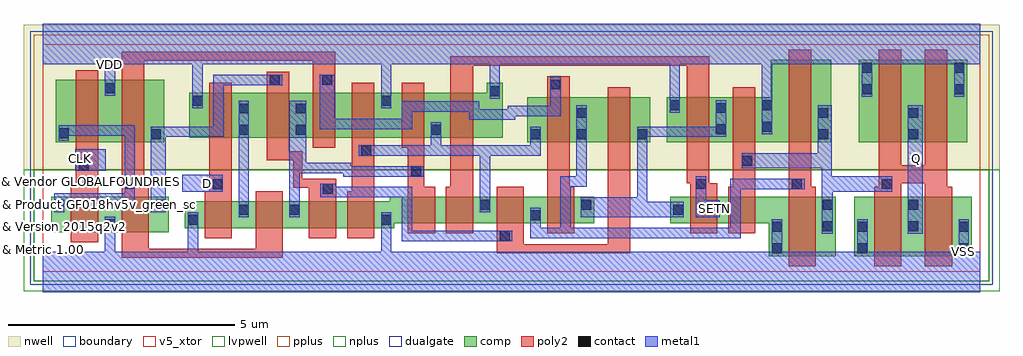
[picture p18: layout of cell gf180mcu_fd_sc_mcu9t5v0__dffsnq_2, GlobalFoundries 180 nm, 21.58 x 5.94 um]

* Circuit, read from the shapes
.subckt gf180mcu_fd_sc_mcu9t5v0__dffsnq_2 CLK D Q SETN VDD VSS
XM1 VSS CLK n1 VSUBS nfet_05v0 w=0.79u l=0.6u
XM2 n2 n1 VSS VSUBS nfet_05v0 w=0.79u l=0.6u
XM3 n3 D VSS VSUBS nfet_05v0 w=0.59u l=0.6u
XM4 n4 n1 n3 VSUBS nfet_05v0 w=0.59u l=0.6u
XM5 n5 n2 n4 VSUBS nfet_05v0 w=0.59u l=0.6u
XM6 VSS n6 n5 VSUBS nfet_05v0 w=0.59u l=0.6u
XM7 n7 n4 VSS VSUBS nfet_05v0 w=0.59u l=0.6u
XM8 n6 SETN n7 VSUBS nfet_05v0 w=0.59u l=0.6u
XM9 n8 n2 n6 VSUBS nfet_05v0 w=0.59u l=0.6u
XM10 n9 n1 n8 VSUBS nfet_05v0 w=0.59u l=0.6u
XM11 n10 SETN n9 VSUBS nfet_05v0 w=0.59u l=0.6u
XM12 VSS n11 n10 VSUBS nfet_05v0 w=0.59u l=0.6u
XM13 n11 n8 VSS VSUBS nfet_05v0 w=1.32u l=0.6u
XM14 Q n11 VSS VSUBS nfet_05v0 w=1.32u l=0.6u m=2
XM15 VDD CLK n1 n12 pfet_05v0 w=1.38u l=0.5u
XM16 n2 n1 VDD n12 pfet_05v0 w=1.38u l=0.5u
XM17 n3 D VDD n12 pfet_05v0 w=1u l=0.5u
XM18 n4 n2 n3 n12 pfet_05v0 w=1u l=0.5u
XM19 n13 n1 n4 n12 pfet_05v0 w=1u l=0.5u
XM20 VDD n6 n13 n12 pfet_05v0 w=1u l=0.5u
XM21 n6 n4 VDD n12 pfet_05v0 w=1u l=0.5u
XM22 VDD SETN n6 n12 pfet_05v0 w=1u l=0.5u
XM23 n8 n1 n6 n12 pfet_05v0 w=1u l=0.5u
XM24 n9 n2 n8 n12 pfet_05v0 w=1u l=0.5u
XM25 n9 SETN VDD n12 pfet_05v0 w=1u l=0.5u
XM26 VDD n11 n9 n12 pfet_05v0 w=1u l=0.5u
XM27 n11 n8 VDD n12 pfet_05v0 w=1.83u l=0.5u
XM28 Q n11 VDD n12 pfet_05v0 w=1.83u l=0.5u m=2
.ends

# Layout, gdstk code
import gdstk
lib = gdstk.Library(unit=1e-6, precision=1e-09)
def R(c, l, rs):  # rectangles x0, y0, x1, y1
    for r in rs: c.add(gdstk.rectangle(r[:2], r[2:], *l))
def P(c, l, *ps):  # polygons
    for p in ps: c.add(gdstk.Polygon(p, *l))
boundary = (0, 0)
nwell = (21, 0)
comp = (22, 0)
poly2 = (30, 0)
pplus = (31, 0)
nplus = (32, 0)
contact = (33, 0)
metal1 = (34, 0)
dualgate = (55, 0)
v5_xtor = (112, 1)
lvpwell = (204, 0)

gf180mcu_fd_sc_mcu9t5v0_ = lib.new_cell('gf180mcu_fd_sc_mcu9t5v0__dffsnq_2')
R(gf180mcu_fd_sc_mcu9t5v0_, boundary, [(0,0,20.72,5.04)])
R(gf180mcu_fd_sc_mcu9t5v0_, nwell, [(-0.43,2.265,21.15,5.47)])
R(gf180mcu_fd_sc_mcu9t5v0_, comp, [(17.94,0.345,20.54,1.665), (0.18,0.875,2.78,1.665), (0.28,2.865,2.68,4.245), (10.71,2.865,13.43,3.865), (18.04,2.865,20.44,4.695)])
P(gf180mcu_fd_sc_mcu9t5v0_, comp, [(3.24,2.965),(3.24,3.965),(9.81,3.965),(9.81,4.18),(10.17,4.18),(10.17,2.965)],
  [(3.14,0.97),(3.14,1.56),(7.67,1.56),(7.67,1.665),(12.19,1.665),(12.19,1.075),(7.77,1.075),(7.77,0.97)],
  [(13.79,2.865),(13.79,3.865),(16.09,3.865),(16.09,4.695),(17.43,4.695),(17.43,2.865)],
  [(16.05,0.345),(16.05,1.075),(13.87,1.075),(13.87,1.665),(17.53,1.665),(17.53,0.345)])
P(gf180mcu_fd_sc_mcu9t5v0_, poly2, [(0.62,0.655),(0.62,1.885),(0.72,1.885),(0.72,4.465),(1.22,4.465),(1.22,0.655)],
  [(3.58,0.75),(3.58,1.78),(3.68,1.78),(3.68,4.185),(4.18,4.185),(4.18,0.75)],
  [(1.74,0.31),(1.74,4.865),(6.465,4.865),(6.465,2.745),(5.965,2.745),(5.965,4.665),(2.24,4.665),(2.24,1.885),(2.34,1.885),(2.34,0.51),(4.7,0.51),(4.7,1.78),(5.3,1.78),(5.3,0.31)],
  [(5.88,0.75),(5.88,1.86),(5.535,1.86),(5.535,2.465),(4.945,2.465),(4.945,4.425),(5.445,4.425),(5.445,2.665),(5.735,2.665),(5.735,2.06),(6.48,2.06),(6.48,0.75)],
  [(6.73,0.75),(6.73,1.78),(6.83,1.78),(6.83,4.185),(7.33,4.185),(7.33,0.75)],
  [(8.07,0.855),(8.07,2.745),(7.93,2.745),(7.93,4.185),(8.43,4.185),(8.43,1.885),(8.67,1.885),(8.67,0.855)],
  [(11.15,0.855),(11.15,4.325),(11.65,4.325),(11.65,1.885),(11.75,1.885),(11.75,0.855)],
  [(10.03,0.415),(10.03,1.885),(10.63,1.885),(10.63,0.615),(12.49,0.615),(12.49,4.085),(12.99,4.085),(12.99,2.645),(12.985,2.645),(12.985,0.415)],
  [(8.91,0.855),(8.91,1.885),(9.01,1.885),(9.01,4.765),(14.73,4.765),(14.73,1.965),(14.91,1.965),(14.91,0.855),(14.31,0.855),(14.31,1.965),(14.23,1.965),(14.23,4.565),(9.51,4.565),(9.51,0.855)],
  [(15.15,0.855),(15.15,1.885),(15.25,1.885),(15.25,4.085),(15.75,4.085),(15.75,0.855)],
  [(16.49,0.125),(16.49,4.915),(16.99,4.915),(16.99,1.885),(17.09,1.885),(17.09,0.125)],
  [(18.38,0.125),(18.38,1.885),(18.48,1.885),(18.48,4.915),(18.98,4.915),(18.98,2.355),(19.5,2.355),(19.5,4.915),(20,4.915),(20,1.885),(20.1,1.885),(20.1,0.125),(19.5,0.125),(19.5,1.965),(18.98,1.965),(18.98,0.125)])
R(gf180mcu_fd_sc_mcu9t5v0_, pplus, [(-0.2,2.265,20.92,5.24)])
R(gf180mcu_fd_sc_mcu9t5v0_, nplus, [(-0.2,-0.2,20.92,2.265)])
R(gf180mcu_fd_sc_mcu9t5v0_, contact, [(16.12,0.415,16.34,0.635), (18.01,0.415,18.23,0.635), (20.25,0.415,20.47,0.635), (10.1,0.685,10.32,0.905), (16.12,0.885,16.34,1.105), (18.01,0.885,18.23,1.105), (20.25,0.885,20.47,1.105), (17.24,0.905,17.46,1.125), (19.13,0.905,19.35,1.125), (1.37,0.945,1.59,1.165), (3.21,1.04,3.43,1.26), (7.48,1.04,7.7,1.26), (10.78,1.145,11,1.365), (4.33,1.27,4.55,1.49), (5.45,1.27,5.67,1.49), (13.94,1.27,14.16,1.49), (0.25,1.375,0.47,1.595), (2.49,1.375,2.71,1.595), (9.66,1.375,9.88,1.595), (11.9,1.375,12.12,1.595), (17.24,1.375,17.46,1.595), (19.13,1.375,19.35,1.595), (6.19,1.73,6.41,1.95), (3.75,1.83,3.97,2.05), (1.81,1.835,2.03,2.055), (14.44,1.835,14.66,2.055), (16.56,1.835,16.78,2.055), (18.55,1.835,18.77,2.055), (8.14,2.115,8.36,2.335), (0.79,2.245,1.01,2.465), (15.46,2.35,15.68,2.57), (7.04,2.575,7.26,2.795), (2.39,2.935,2.61,3.155), (10.78,2.935,11,3.155), (11.8,2.935,12.02,3.155), (13.14,2.935,13.36,3.155), (17.14,2.935,17.36,3.155), (19.13,2.935,19.35,3.155), (0.35,2.96,0.57,3.18), (4.33,3.035,4.55,3.255), (5.595,3.035,5.815,3.255), (8.58,3.035,8.8,3.255), (14.88,3.045,15.1,3.265), (15.9,3.105,16.12,3.325), (11.8,3.405,12.02,3.625), (17.14,3.405,17.36,3.625), (19.13,3.405,19.35,3.625), (4.33,3.505,4.55,3.725), (5.595,3.505,5.815,3.725), (14.88,3.515,15.1,3.735), (13.86,3.575,14.08,3.795), (15.9,3.575,16.12,3.795), (3.31,3.675,3.53,3.895), (7.48,3.675,7.7,3.895), (9.88,3.89,10.1,4.11), (18.11,3.935,18.33,4.155), (20.15,3.935,20.37,4.155), (1.37,3.955,1.59,4.175), (11.22,4.035,11.44,4.255), (5.015,4.135,5.235,4.355), (6.175,4.135,6.395,4.355), (18.11,4.405,18.33,4.625), (20.15,4.405,20.37,4.625)])
R(gf180mcu_fd_sc_mcu9t5v0_, metal1, [(19.125,0.845,19.45,3.685), (4.325,1.21,4.555,3.785), (3.075,1.77,3.975,2.15), (0.71,2.24,1.39,2.71)])
P(gf180mcu_fd_sc_mcu9t5v0_, metal1, [(0.245,1.315),(0.245,1.74),(1.805,1.74),(1.805,3.01),(0.575,3.01),(0.575,2.9),(0.345,2.9),(0.345,3.24),(2.035,3.24),(2.035,1.51),(0.475,1.51),(0.475,1.315)],
  [(2.385,1.315),(2.385,3.215),(3.765,3.215),(3.765,4.36),(5.295,4.36),(5.295,4.13),(3.995,4.13),(3.995,2.985),(2.715,2.985),(2.715,1.315)],
  [(5.445,1.21),(5.445,3.785),(5.82,3.785),(5.82,2.415),(6.81,2.415),(6.81,2.34),(8.42,2.34),(8.42,2.11),(6.64,2.11),(6.64,2.185),(5.675,2.185),(5.675,1.21)],
  [(7.935,0.68),(7.935,1.65),(6.13,1.65),(6.13,1.955),(6.47,1.955),(6.47,1.88),(8.165,1.88),(8.165,0.91),(10.38,0.91),(10.38,0.68)],
  [(9.655,1.315),(9.655,2.57),(6.98,2.57),(6.98,2.8),(8.575,2.8),(8.575,3.315),(8.805,3.315),(8.805,2.8),(10.775,2.8),(10.775,3.215),(11.005,3.215),(11.005,2.57),(9.885,2.57),(9.885,1.315)],
  [(6.115,3.155),(6.115,4.36),(6.455,4.36),(6.455,3.385),(7.935,3.385),(7.935,3.775),(9.65,3.775),(9.65,3.6),(10.275,3.6),(10.275,3.675),(11.215,3.675),(11.215,4.315),(11.445,4.315),(11.445,3.445),(10.445,3.445),(10.445,3.37),(9.425,3.37),(9.425,3.545),(8.165,3.545),(8.165,3.155)],
  [(14.435,1.21),(14.435,2.115),(14.665,2.115),(14.665,1.59),(14.97,1.59),(14.97,1.21)],
  [(11.895,1.21),(11.895,1.655),(13.135,1.655),(13.135,3.215),(14.875,3.215),(14.875,3.795),(15.105,3.795),(15.105,2.985),(13.365,2.985),(13.365,1.55),(14.165,1.55),(14.165,1.21)],
  [(10.775,0.75),(10.775,1.425),(11.005,1.425),(11.005,0.98),(11.435,0.98),(11.435,2.115),(11.795,2.115),(11.795,3.685),(12.025,3.685),(12.025,1.885),(11.665,1.885),(11.665,0.98),(15.2,0.98),(15.2,2.06),(16.84,2.06),(16.84,1.83),(15.43,1.83),(15.43,0.75)],
  [(17.215,0.845),(17.215,2.29),(15.455,2.29),(15.455,2.63),(17.135,2.63),(17.135,3.685),(17.445,3.685),(17.445,2.115),(18.775,2.115),(18.775,1.775),(17.465,1.775),(17.465,0.845)],
  [(0,-0.45),(0,0.45),(1.365,0.45),(1.365,1.225),(1.595,1.225),(1.595,0.45),(3.205,0.45),(3.205,1.32),(3.435,1.32),(3.435,0.45),(7.475,0.45),(7.475,1.32),(7.705,1.32),(7.705,0.45),(16.115,0.45),(16.115,1.165),(16.345,1.165),(16.345,0.45),(18.005,0.45),(18.005,1.165),(18.235,1.165),(18.235,0.45),(20.245,0.45),(20.245,1.165),(20.475,1.165),(20.475,0.45),(20.72,0.45),(20.72,-0.45)],
  [(15.895,3.045),(15.895,4.59),(14.085,4.59),(14.085,3.515),(13.855,3.515),(13.855,4.59),(10.105,4.59),(10.105,3.83),(9.875,3.83),(9.875,4.59),(7.705,4.59),(7.705,3.615),(7.475,3.615),(7.475,4.59),(3.535,4.59),(3.535,3.615),(3.305,3.615),(3.305,4.59),(1.595,4.59),(1.595,3.895),(1.365,3.895),(1.365,4.59),(0,4.59),(0,5.49),(20.72,5.49),(20.72,4.59),(20.375,4.59),(20.375,3.875),(20.145,3.875),(20.145,4.59),(18.335,4.59),(18.335,3.875),(18.105,3.875),(18.105,4.59),(16.125,4.59),(16.125,3.045)])
R(gf180mcu_fd_sc_mcu9t5v0_, dualgate, [(-0.28,-0.28,21,5.32)])
R(gf180mcu_fd_sc_mcu9t5v0_, v5_xtor, [(0,0,20.72,5.04)])
R(gf180mcu_fd_sc_mcu9t5v0_, lvpwell, [(-0.43,-0.43,21.15,2.265)])
gf180mcu_fd_sc_mcu9t5v0_.add(gdstk.Label('CLK', (0.84,2.52), layer=34, texttype=10))
gf180mcu_fd_sc_mcu9t5v0_.add(gdstk.Label('D', (3.64,1.96), layer=34, texttype=10))
gf180mcu_fd_sc_mcu9t5v0_.add(gdstk.Label('Q', (19.32,2.52), layer=34, texttype=10))
gf180mcu_fd_sc_mcu9t5v0_.add(gdstk.Label('SETN', (14.84,1.4), layer=34, texttype=10))
gf180mcu_fd_sc_mcu9t5v0_.add(gdstk.Label('VDD', (1.48,4.59), layer=34, texttype=10))
gf180mcu_fd_sc_mcu9t5v0_.add(gdstk.Label('VSS', (20.36,0.45), layer=34, texttype=10))
gf180mcu_fd_sc_mcu9t5v0_.add(gdstk.Label('& Vendor GLOBALFOUNDRIES', (0,2), layer=63, texttype=63))
gf180mcu_fd_sc_mcu9t5v0_.add(gdstk.Label('& Product GF018hv5v_green_sc9', (0,1.5), layer=63, texttype=63))
gf180mcu_fd_sc_mcu9t5v0_.add(gdstk.Label('& Version 2015q2v2', (0,1), layer=63, texttype=63))
gf180mcu_fd_sc_mcu9t5v0_.add(gdstk.Label('& Metric 1.00', (0,0.5), layer=63, texttype=63))

lib.write_gds('gf180mcu_fd_sc_mcu9t5v0__dffsnq_2.gds')
